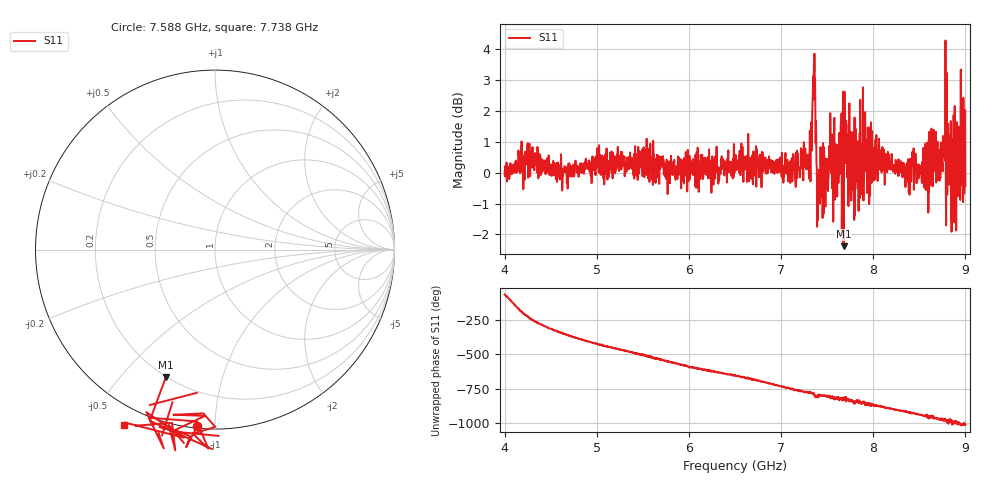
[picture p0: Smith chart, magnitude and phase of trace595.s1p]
! Created with skrf 1.8.0 (http://scikit-rf.org).
# Hz S RI R 50.0
!freq ReS11 ImS11
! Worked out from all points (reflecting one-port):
!   1601 points, 4 GHz to 9 GHz, reference 50 ohm
!   lowest |S11| = -2.4 dB at 7.678 GHz (marker M1), VSWR 7.33, Z = 9.95 - j33.4 ohm
!   phase of S11 starts at -69 deg and turns -942 deg over the sweep
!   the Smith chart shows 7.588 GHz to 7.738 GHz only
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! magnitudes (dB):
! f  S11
! 4 GHz  0.0
! 4.247 GHz  0.9
! 4.625 GHz  -0.6
! 5.25 GHz  0.4
! 5.875 GHz  -0.2
! 6.5 GHz  0.2
! 7.125 GHz  0.2
! 7.297 GHz  0.1
! 7.35 GHz  2.4
! 7.362 GHz  3.9
! 7.397 GHz  -1.5
! 7.412 GHz  0.1
! 7.538 GHz  0.8
! 7.609 GHz  -0.8
! 7.65 GHz  1.6
! 7.678 GHz  -2.4
! 7.75 GHz  0.8
! 7.769 GHz  -0.4
! 8.05 GHz  0.5
! 8.375 GHz  0.0
! 8.441 GHz  -0.6
! 8.575 GHz  0.0
! 8.634 GHz  0.4
! 8.728 GHz  -0.2
! 8.759 GHz  1.2
! 8.856 GHz  0.4
! 8.972 GHz  0.5
! 9 GHz  -0.4
